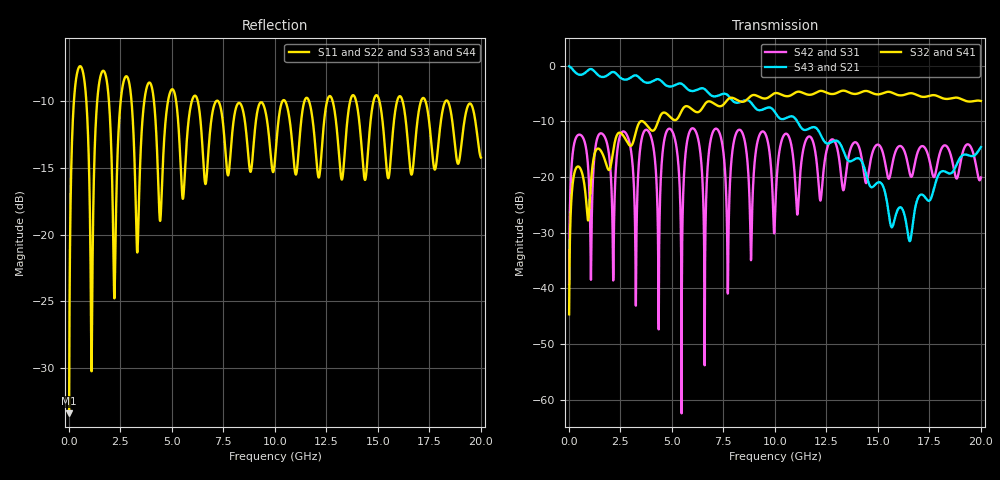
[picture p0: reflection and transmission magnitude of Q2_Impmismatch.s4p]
! Touchstone generated by fitter/viewer
# HZ S  RI R 5.000000e+001
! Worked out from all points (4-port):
!   2000 points, 10 MHz to 20 GHz, reference 50 ohm
!   strongest paths, dB at 10 MHz, 5.01 GHz, 10.01 GHz, 15.01 GHz, 20 GHz:
!     S32: -44.7, -9.5, -4.9, -5.2, -6.3
!     S41: -44.7, -9.5, -4.9, -5.2, -6.3
!     S43: -0.1, -3.7, -8.4, -21.0, -14.6
!     S21: -0.1, -3.7, -8.4, -21.0, -14.6
!     S42: -39.2, -11.7, -26.6, -14.2, -20.1
!     S31: -39.2, -11.7, -26.6, -14.2, -20.1
!   lowest |S11| = -33.4 dB at 10 MHz (marker M1), VSWR 1.04, Z = 51 + j1.91 ohm
!   |S11| at or under -10 dB: 7.244 GHz to 10.37 GHz (3.123 GHz wide, 35.5 % of centre); 17.31 GHz to 18.29 GHz (976.9 MHz wide, 5.49 % of centre); 18.39 GHz to end of sweep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
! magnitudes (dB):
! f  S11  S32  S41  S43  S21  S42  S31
! 10 MHz  -33.4  -44.7  -44.7  -0.1  -0.1  -39.2  -39.2
! 470 MHz  -7.5  -18.1  -18.1  -1.6  -1.6  -12.4  -12.4
! 3.5 GHz  -13.2  -10.0  -10.0  -2.5  -2.5  -13.8  -13.8
! 5.47 GHz  -16.3  -8.1  -8.1  -3.3  -3.3  -62.5  -62.5
! 5.99 GHz  -9.9  -7.9  -7.9  -4.6  -4.6  -11.3  -11.3
! 16.54 GHz  -14.6  -5.0  -5.0  -31.5  -31.5  -19.3  -19.3
! 20 GHz  -14.2  -6.3  -6.3  -14.6  -14.6  -20.1  -20.1
